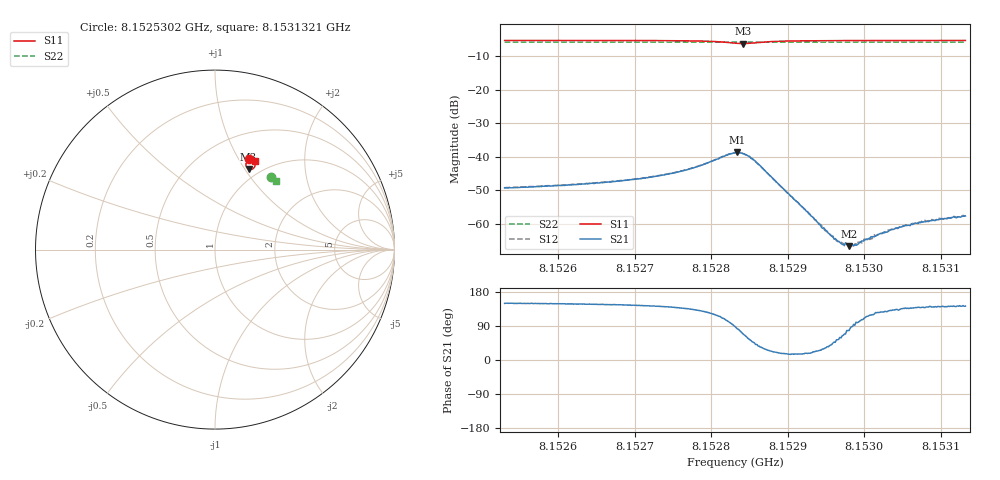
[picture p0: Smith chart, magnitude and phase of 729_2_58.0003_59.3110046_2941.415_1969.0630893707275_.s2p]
#  HZ  S  RI  R  50.00
! Rohde & Schwarz Vector Network Analyzer
! Rohde-Schwarz,ZNB20-2Port,1311601062101988,3.16
! Created: UTC 3/21/2024, 1:23:00 AM
! freq[Hz]  re:S11  im:S11  re:S21  im:S21  re:S12  im:S12  re:S22  im:S22
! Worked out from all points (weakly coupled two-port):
!   401 points, 8.1525302 GHz to 8.1531321 GHz, reference 50 ohm
!   highest |S21| = -38.65 dB at 8.1528342 GHz (marker M1); lowest = -66.6 dB at 8.1529801 GHz (marker M2)
!   lowest |S11| = -6.3 dB at 8.1528417 GHz (marker M3), VSWR 2.89, Z = 44.3 + j52.1 ohm
!   |S11| at or under -10 dB: nowhere
!   |S22| runs from -5.9 to -5.8 dB; largest |S21 - S12| = 0.00043
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8.15253019e9  0.192 0.5052  -0.00298 0.00177  -0.00297 0.00181  0.3122 0.4045
8.15263101e9  0.2008 0.5015  -0.00333 0.00211  -0.00332 0.00219  0.3174 0.4005
8.15268669e9  0.2066 0.4985  -0.00367 0.00255  -0.00365 0.00263  0.3202 0.3982
8.15273184e9  0.2124 0.4945  -0.00412 0.00325  -0.00407 0.00334  0.3223 0.3962
8.15277397e9  0.2194 0.4863  -0.00467 0.00482  -0.00466 0.00491  0.3245 0.3941
8.15283116e9  0.2054 0.448  0.00031 0.0114  0.000613 0.0115  0.3259 0.3907
8.15283417e9  0.2004 0.4469  0.00156 0.0116  0.00158 0.0114  0.3259 0.3907
8.15284169e9  0.1873 0.449  0.00407 0.0104  0.00418 0.0104  0.3259 0.3906
8.15285072e9  0.176 0.4592  0.00603 0.00805  0.00615 0.00773  0.326 0.3907
8.15285975e9  0.1723 0.4716  0.00614 0.00534  0.00637 0.00514  0.3265 0.391
8.15293198e9  0.1967 0.4982  0.00121 0.000439  0.00124 0.000451  0.3312 0.3885
8.15295155e9  0.2007 0.4983  0.000637 0.000451  0.00064 0.000419  0.3321 0.3877
8.15296359e9  0.2028 0.4982  0.000352 0.000468  0.000358 0.000438  0.3327 0.3871
8.15297111e9  0.204 0.4981  0.00022 0.000449  0.000228 0.00047  0.3332 0.387
8.15298014e9  0.2053 0.4979  9.95e-05 0.000458  9.11e-05 0.000493  0.3336 0.3865
8.15298616e9  0.2063 0.4978  -3.4e-05 0.000476  -1.84e-05 0.000474  0.3339 0.3863
8.15298917e9  0.2067 0.4977  -8.15e-05 0.000477  -4.61e-05 0.000499  0.3341 0.386
8.15299519e9  0.2074 0.4975  -0.000135 0.000521  -0.000142 0.000524  0.3344 0.3859
8.15303281e9  0.2118 0.4966  -0.000523 0.000614  -0.000513 0.000619  0.3362 0.3842
8.15305237e9  0.2137 0.496  -0.000672 0.000652  -0.000654 0.000679  0.3371 0.3834
8.15307946e9  0.2164 0.4952  -0.000806 0.000719  -0.000861 0.000741  0.3383 0.3821
8.15313213e9  0.2207 0.4935  -0.00104 0.000809  -0.00103 0.00082  0.3409 0.3798
